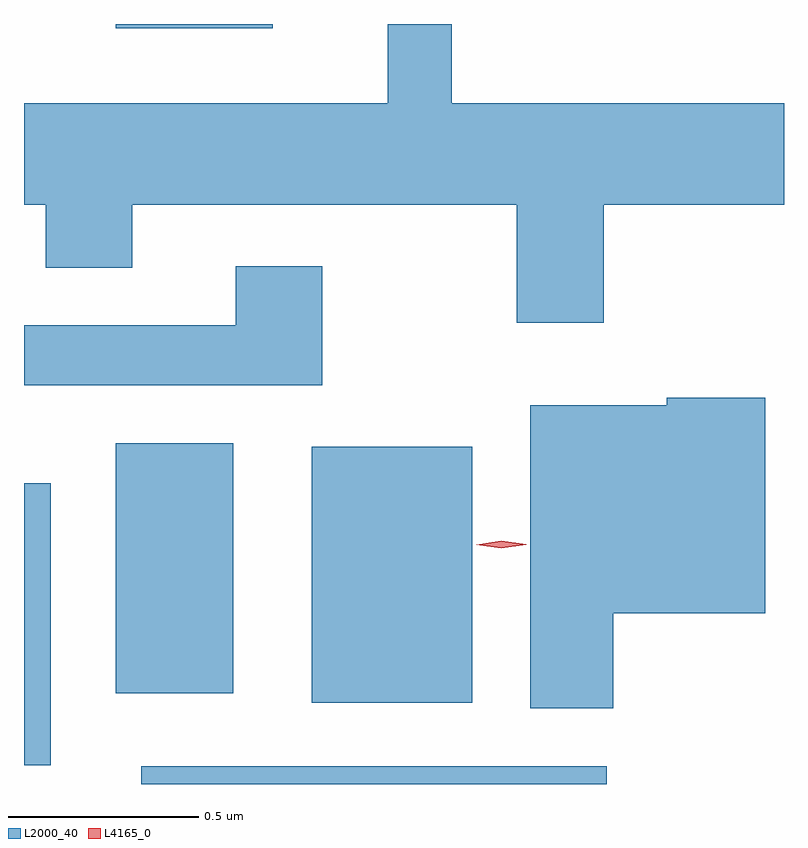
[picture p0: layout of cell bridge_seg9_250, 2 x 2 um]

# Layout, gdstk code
import gdstk
lib = gdstk.Library(unit=1e-6, precision=1e-09)
def R(c, l, rs):  # rectangles x0, y0, x1, y1
    for r in rs: c.add(gdstk.rectangle(r[:2], r[2:], *l))
def P(c, l, *ps):  # polygons
    for p in ps: c.add(gdstk.Polygon(p, *l))
L2000_40 = (2000, 40)
L4165_0 = (4165, 0)

bridge_seg9_250 = lib.new_cell('bridge_seg9_250')
R(bridge_seg9_250, L2000_40, [(1406.763,1952.552,1407.988,1952.599), (1406.454,1952.601,1406.524,1953.344), (1407.211,1952.766,1407.634,1953.439), (1406.696,1952.791,1407.004,1953.449), (1406.696,1954.541,1407.109,1954.552)])
P(bridge_seg9_250, L2000_40, [(1407.979,1954.076),(1408.454,1954.076),(1408.454,1954.344),(1407.579,1954.344),(1407.579,1954.552),(1407.411,1954.552),(1407.411,1954.344),(1406.454,1954.344),(1406.454,1954.076),(1406.511,1954.076),(1406.511,1953.911),(1406.739,1953.911),(1406.739,1954.076),(1407.751,1954.076),(1407.751,1953.766),(1407.979,1953.766)],
  [(1407.239,1953.914),(1407.011,1953.914),(1407.011,1953.759),(1406.454,1953.759),(1406.454,1953.601),(1407.239,1953.601)],
  [(1408.004,1953.001),(1408.404,1953.001),(1408.404,1953.569),(1408.146,1953.569),(1408.146,1953.549),(1407.786,1953.549),(1407.786,1952.751),(1408.004,1952.751)])
P(bridge_seg9_250, L4165_0, [(1407.71,1953.172),(1407.644,1953.181),(1407.644,1953.181),(1407.644,1953.182),(1407.71,1953.192),(1407.776,1953.183),(1407.776,1953.183),(1407.776,1953.182)])

lib.write_gds('bridge_seg9_250.gds')
